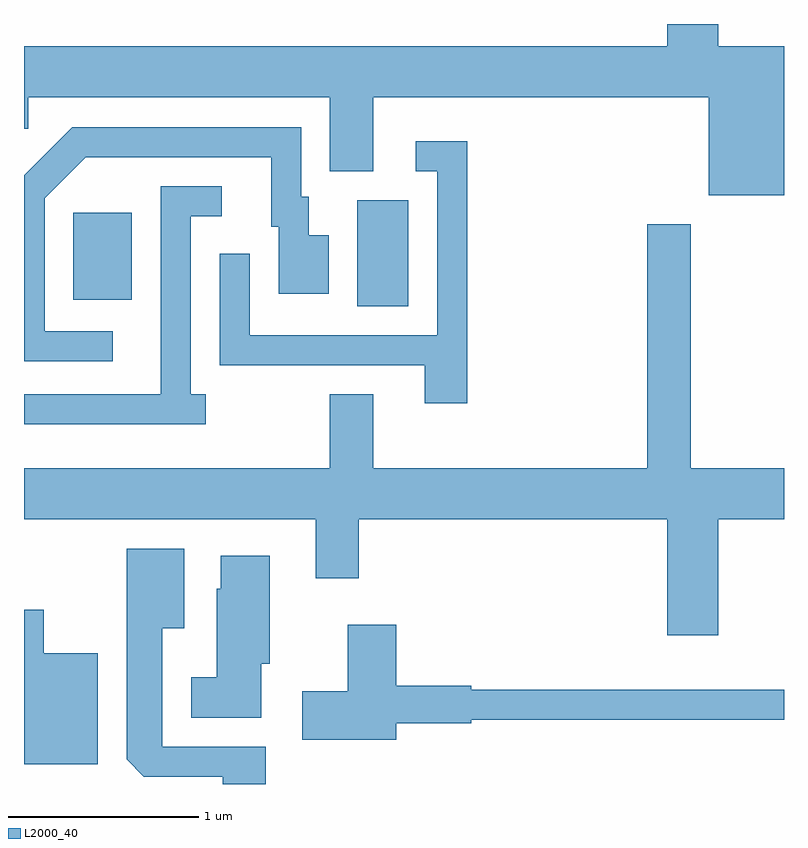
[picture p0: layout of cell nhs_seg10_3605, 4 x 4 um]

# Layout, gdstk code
import gdstk
lib = gdstk.Library(unit=1e-6, precision=1e-09)
def R(c, l, rs):  # rectangles x0, y0, x1, y1
    for r in rs: c.add(gdstk.rectangle(r[:2], r[2:], *l))
def P(c, l, *ps):  # polygons
    for p in ps: c.add(gdstk.Polygon(p, *l))
L2000_40 = (2000, 40)

nhs_seg10_3605 = lib.new_cell('nhs_seg10_3605')
R(nhs_seg10_3605, L2000_40, [(293.366,2115.036,293.634,2115.594), (291.871,2115.071,292.179,2115.529)])
P(nhs_seg10_3605, L2000_40, [(295.611,2116.404),(295.264,2116.404),(295.264,2116.522),(294.996,2116.522),(294.996,2116.404),(291.611,2116.404),(291.611,2115.971),(291.634,2115.971),(291.634,2116.136),(293.221,2116.136),(293.221,2115.746),(293.449,2115.746),(293.449,2116.136),(295.216,2116.136),(295.216,2115.621),(295.611,2115.621)],
  [(292.078,2114.904),(291.719,2114.904),(291.719,2115.604),(291.937,2115.821),(292.911,2115.821),(292.911,2115.456),(292.951,2115.456),(292.951,2115.101),(293.214,2115.101),(293.214,2115.409),(293.109,2115.409),(293.109,2115.614),(293.069,2115.614),(293.069,2115.979),(291.864,2115.979),(291.611,2115.727),(291.611,2114.746),(292.078,2114.746)],
  [(293.944,2115.904),(293.673,2115.904),(293.673,2115.746),(293.786,2115.746),(293.786,2114.884),(292.799,2114.884),(292.799,2115.313),(292.641,2115.313),(292.641,2114.726),(293.721,2114.726),(293.721,2114.526),(293.944,2114.526)],
  [(292.568,2114.574),(292.489,2114.574),(292.489,2115.511),(292.653,2115.511),(292.653,2115.669),(292.331,2115.669),(292.331,2114.574),(291.611,2114.574),(291.611,2114.416),(292.568,2114.416)],
  [(295.264,2113.916),(295.611,2113.916),(295.611,2114.184),(295.119,2114.184),(295.119,2115.469),(294.891,2115.469),(294.891,2114.184),(293.449,2114.184),(293.449,2114.574),(293.221,2114.574),(293.221,2114.184),(291.611,2114.184),(291.611,2113.916),(293.146,2113.916),(293.146,2113.606),(293.374,2113.606),(293.374,2113.916),(294.996,2113.916),(294.996,2113.306),(295.264,2113.306)],
  [(292.884,2112.719),(292.339,2112.719),(292.339,2113.341),(292.454,2113.341),(292.454,2113.759),(292.151,2113.759),(292.151,2112.652),(292.242,2112.561),(292.656,2112.561),(292.656,2112.522),(292.884,2112.522)],
  [(292.859,2113.156),(292.904,2113.156),(292.904,2113.724),(292.646,2113.724),(292.646,2113.549),(292.626,2113.549),(292.626,2113.084),(292.491,2113.084),(292.491,2112.871),(292.859,2112.871)],
  [(291.999,2113.209),(291.714,2113.209),(291.714,2113.439),(291.611,2113.439),(291.611,2112.626),(291.999,2112.626)],
  [(293.569,2112.841),(293.964,2112.841),(293.964,2112.861),(295.611,2112.861),(295.611,2113.019),(293.964,2113.019),(293.964,2113.039),(293.569,2113.039),(293.569,2113.359),(293.316,2113.359),(293.316,2113.009),(293.076,2113.009),(293.076,2112.756),(293.569,2112.756)])

lib.write_gds('nhs_seg10_3605.gds')
